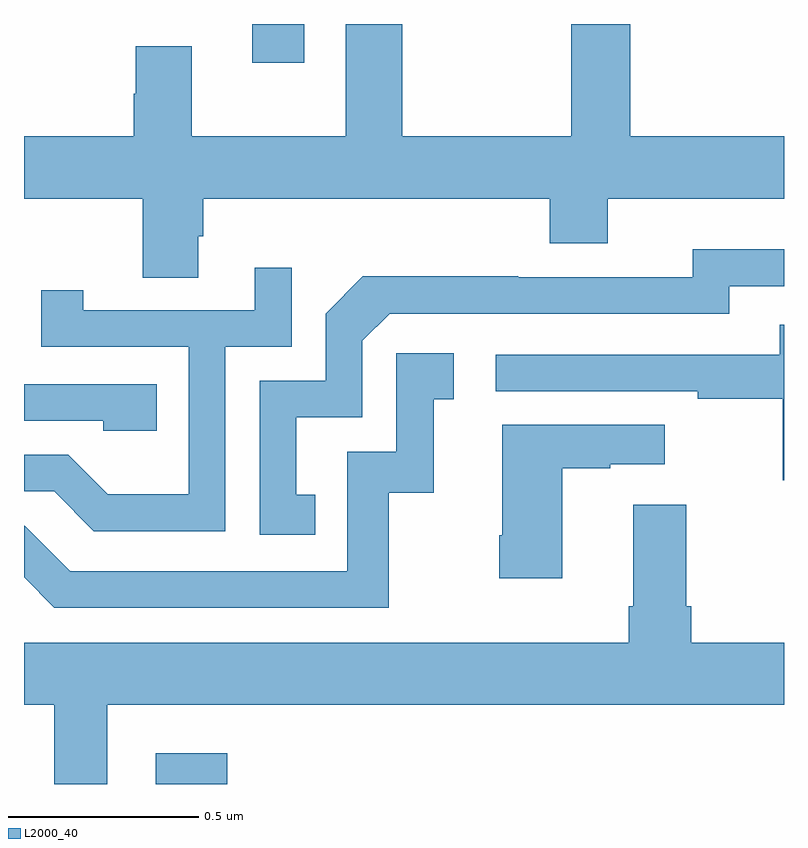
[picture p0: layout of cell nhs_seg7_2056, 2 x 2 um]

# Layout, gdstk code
import gdstk
lib = gdstk.Library(unit=1e-6, precision=1e-09)
def R(c, l, rs):  # rectangles x0, y0, x1, y1
    for r in rs: c.add(gdstk.rectangle(r[:2], r[2:], *l))
def P(c, l, *ps):  # polygons
    for p in ps: c.add(gdstk.Polygon(p, *l))
L2000_40 = (2000, 40)

nhs_seg7_2056 = lib.new_cell('nhs_seg7_2056')
R(nhs_seg7_2056, L2000_40, [(139.347,1075,139.535,1075.081), (139.601,1076.898,139.737,1077)])
P(nhs_seg7_2056, L2000_40, [(139.459,1076.442),(139.472,1076.442),(139.472,1076.54),(140.384,1076.54),(140.384,1076.423),(140.536,1076.423),(140.536,1076.54),(141,1076.54),(141,1076.704),(140.595,1076.704),(140.595,1077),(140.44,1077),(140.44,1076.704),(139.995,1076.704),(139.995,1077),(139.847,1077),(139.847,1076.704),(139.441,1076.704),(139.441,1076.942),(139.294,1076.942),(139.294,1076.817),(139.289,1076.817),(139.289,1076.704),(139,1076.704),(139,1076.54),(139.312,1076.54),(139.312,1076.332),(139.459,1076.332)],
  [(139.766,1075.761),(139.717,1075.761),(139.717,1075.965),(139.89,1075.965),(139.89,1076.166),(139.962,1076.238),(140.856,1076.238),(140.856,1076.31),(141,1076.31),(141,1076.407),(140.76,1076.407),(140.76,1076.334),(140.3,1076.334),(140.3,1076.336),(139.892,1076.336),(139.794,1076.238),(139.794,1076.061),(139.62,1076.061),(139.62,1075.656),(139.766,1075.656)],
  [(139.53,1076.151),(139.704,1076.151),(139.704,1076.359),(139.607,1076.359),(139.607,1076.247),(139.156,1076.247),(139.156,1076.299),(139.045,1076.299),(139.045,1076.151),(139.434,1076.151),(139.434,1075.762),(139.22,1075.762),(139.116,1075.866),(139,1075.866),(139,1075.77),(139.079,1075.77),(139.184,1075.665),(139.53,1075.665)],
  [(141,1076.209),(140.989,1076.209),(140.989,1076.13),(140.241,1076.13),(140.241,1076.034),(140.773,1076.034),(140.773,1076.014),(140.997,1076.014),(140.997,1075.8),(141,1075.8)],
  [(139.96,1075.767),(140.078,1075.767),(140.078,1076.013),(140.131,1076.013),(140.131,1076.134),(139.98,1076.134),(139.98,1075.875),(139.851,1075.875),(139.851,1075.56),(139.122,1075.56),(139.002,1075.68),(139,1075.68),(139,1075.544),(139.08,1075.464),(139.96,1075.464)],
  [(139.349,1076.052),(139,1076.052),(139,1075.956),(139.209,1075.956),(139.209,1075.929),(139.349,1075.929)],
  [(140.416,1075.831),(140.543,1075.831),(140.543,1075.841),(140.686,1075.841),(140.686,1075.945),(140.258,1075.945),(140.258,1075.654),(140.251,1075.654),(140.251,1075.542),(140.416,1075.542)],
  [(139.219,1075.208),(141,1075.208),(141,1075.372),(140.756,1075.372),(140.756,1075.468),(140.743,1075.468),(140.743,1075.735),(140.603,1075.735),(140.603,1075.468),(140.591,1075.468),(140.591,1075.372),(139,1075.372),(139,1075.208),(139.079,1075.208),(139.079,1075),(139.219,1075)])

lib.write_gds('nhs_seg7_2056.gds')
